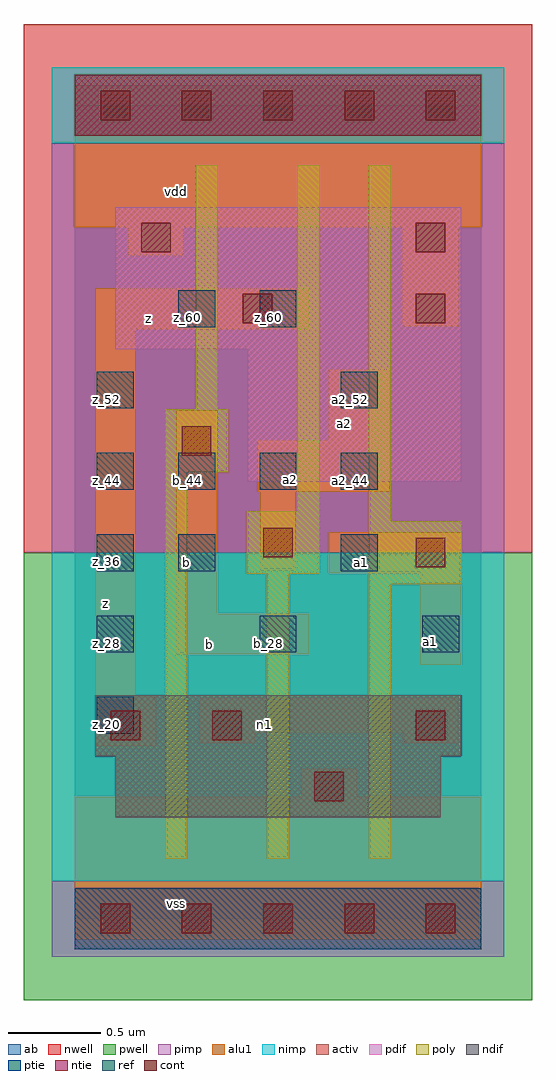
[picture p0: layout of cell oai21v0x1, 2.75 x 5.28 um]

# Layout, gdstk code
import gdstk
lib = gdstk.Library(unit=1e-6, precision=2.5e-09)
def R(c, l, rs):  # rectangles x0, y0, x1, y1
    for r in rs: c.add(gdstk.rectangle(r[:2], r[2:], *l))
def A(c, l, x, y, w, h, nx, ny, dx, dy):  # array of equal rectangles
    R(c, l, [(x+i*dx, y+j*dy, x+i*dx+w, y+j*dy+h) for i in range(nx) for j in range(ny)])
ndif = (3, 0)
pdif = (4, 0)
ntie = (5, 0)
ptie = (6, 0)
ref = (24, 0)
cont = (25, 0)
pwell = (41, 0)
nwell = (42, 0)
activ = (43, 0)
pimp = (44, 0)
nimp = (45, 0)
poly = (46, 0)
alu1 = (49, 0)
ab = (63, 0)

oai21v0x1 = lib.new_cell('oai21v0x1')
R(oai21v0x1, ndif, [(0.22,0.55,1.98,0.88), (0.11,0.88,2.09,1.21)])
R(oai21v0x1, pdif, [(0.935,2.365,2.09,3.08), (0.22,3.08,2.09,3.85)])
R(oai21v0x1, ntie, [(0,4.235,2.2,4.565)])
R(oai21v0x1, ptie, [(0,-0.165,2.2,0.165)])
A(oai21v0x1, ref, 0.12, 1, 0.2, 0.2, 1, 3, 0, 0.88)
A(oai21v0x1, ref, 0.12, 1.44, 0.2, 0.2, 3, 1, 0.88, 0)
A(oai21v0x1, ref, 0.12, 2.32, 0.2, 0.2, 4, 1, 0.44, 0)
R(oai21v0x1, ref, [(0.56,1.88,0.76,2.08), (1.44,1.88,1.64,2.08), (1.44,2.76,1.64,2.96), (0.56,3.2,0.76,3.4), (1,3.2,1.2,3.4)])
A(oai21v0x1, cont, 0.14, -0.08, 0.16, 0.16, 5, 2, 0.44, 4.4)
R(oai21v0x1, cont, [(1.295,0.635,1.455,0.795), (0.195,0.965,0.355,1.125), (0.745,0.965,0.905,1.125), (1.845,0.965,2.005,1.125), (1.845,1.9,2.005,2.06), (1.02,1.955,1.18,2.115), (0.58,2.505,0.74,2.665), (0.91,3.22,1.07,3.38), (1.845,3.22,2.005,3.38), (0.36,3.605,0.52,3.765), (1.845,3.605,2.005,3.765)])
R(oai21v0x1, pwell, [(-0.275,-0.44,2.475,1.98)])
R(oai21v0x1, nwell, [(-0.275,1.98,2.475,4.84)])
R(oai21v0x1, activ, [(0,-0.165,2.2,0.165), (0.22,0.55,1.98,0.88), (0.11,0.88,2.09,1.21), (0.935,2.365,2.09,3.08), (0.22,3.08,2.09,3.85), (0,4.235,2.2,4.565)])
R(oai21v0x1, pimp, [(-0.125,-0.205,2.325,0.205), (-0.125,1.98,2.325,4.195)])
R(oai21v0x1, nimp, [(-0.125,0.205,2.325,1.98), (-0.125,4.195,2.325,4.605)])
R(oai21v0x1, poly, [(0.49,0.325,0.61,2.415), (1.04,0.325,1.16,1.865), (1.59,0.325,1.71,1.81), (1.59,1.81,2.095,2.15), (0.93,1.865,1.325,2.205), (1.59,2.15,1.71,4.075), (1.205,2.205,1.325,4.075), (0.49,2.415,0.83,2.755), (0.655,2.755,0.775,4.075)])
R(oai21v0x1, alu1, [(0,-0.11,2.2,0.66), (1.225,0.66,1.525,0.81), (0.11,0.935,0.44,1.21), (0.675,0.95,0.975,1.005), (1.775,0.95,2.075,1.005), (0.675,1.005,2.075,1.195), (0.11,1.21,0.33,3.19), (1.87,1.375,2.09,1.87), (0.55,1.43,1.265,1.65), (0.55,1.65,0.77,2.75), (1.375,1.87,2.09,2.09), (1.005,1.885,1.195,2.31), (0.99,2.31,1.705,2.585), (1.375,2.585,1.705,2.97), (0.11,3.19,1.265,3.41), (1.775,3.205,2.075,3.74), (0.29,3.59,0.59,3.74), (0,3.74,2.2,4.51)])
R(oai21v0x1, ab, [(0,0,2.2,4.4)])
oai21v0x1.add(gdstk.Label('vss', (0.55,0.0825), layer=49, texttype=0))
oai21v0x1.add(gdstk.Label('n1', (1.025,1.0525), layer=49, texttype=0))
oai21v0x1.add(gdstk.Label('a1', (1.925,1.4975), layer=49, texttype=0))
oai21v0x1.add(gdstk.Label('b', (0.7275,1.485), layer=49, texttype=0))
oai21v0x1.add(gdstk.Label('a1', (1.5525,1.925), layer=49, texttype=0))
oai21v0x1.add(gdstk.Label('a2', (1.1675,2.3775), layer=49, texttype=0))
oai21v0x1.add(gdstk.Label('a2', (1.4575,2.68), layer=49, texttype=0))
oai21v0x1.add(gdstk.Label('b', (0.605,1.925), layer=49, texttype=0))
oai21v0x1.add(gdstk.Label('z', (0.165,1.705), layer=49, texttype=0))
oai21v0x1.add(gdstk.Label('z', (0.3975,3.245), layer=49, texttype=0))
oai21v0x1.add(gdstk.Label('vdd', (0.55,3.9325), layer=49, texttype=0))
oai21v0x1.add(gdstk.Label('z_52', (0.17,2.81), layer=24, texttype=0))
oai21v0x1.add(gdstk.Label('z_44', (0.17,2.37), layer=24, texttype=0))
oai21v0x1.add(gdstk.Label('z_36', (0.17,1.93), layer=24, texttype=0))
oai21v0x1.add(gdstk.Label('z_28', (0.17,1.49), layer=24, texttype=0))
oai21v0x1.add(gdstk.Label('z_20', (0.17,1.05), layer=24, texttype=0))
oai21v0x1.add(gdstk.Label('a1_28', (1.93,1.49), layer=24, texttype=0))
oai21v0x1.add(gdstk.Label('a2_52', (1.49,2.81), layer=24, texttype=0))
oai21v0x1.add(gdstk.Label('a2_44', (1.49,2.37), layer=24, texttype=0))
oai21v0x1.add(gdstk.Label('a1_36', (1.49,1.93), layer=24, texttype=0))
oai21v0x1.add(gdstk.Label('z_60', (1.05,3.25), layer=24, texttype=0))
oai21v0x1.add(gdstk.Label('a2_44', (1.05,2.37), layer=24, texttype=0))
oai21v0x1.add(gdstk.Label('b_28', (1.05,1.49), layer=24, texttype=0))
oai21v0x1.add(gdstk.Label('z_60', (0.61,3.25), layer=24, texttype=0))
oai21v0x1.add(gdstk.Label('b_44', (0.61,2.37), layer=24, texttype=0))
oai21v0x1.add(gdstk.Label('b_36', (0.61,1.93), layer=24, texttype=0))

lib.write_gds('oai21v0x1.gds')
